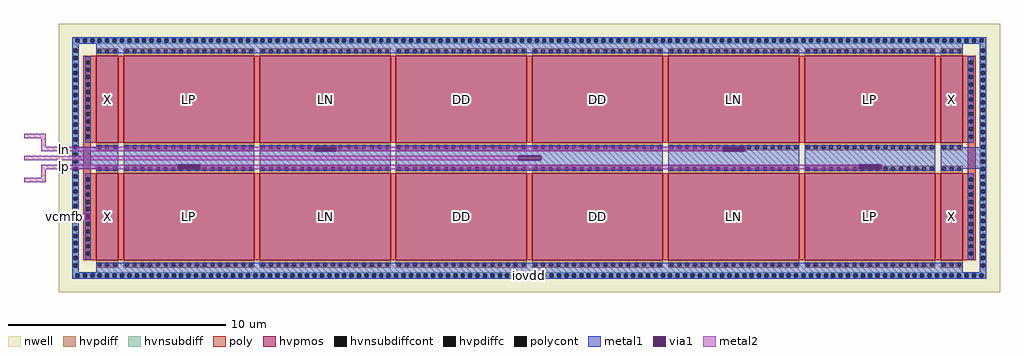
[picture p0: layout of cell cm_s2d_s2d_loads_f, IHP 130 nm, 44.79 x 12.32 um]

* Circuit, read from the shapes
.subckt cm_s2d_s2d_loads_f iovdd lp dd ln vcmfb
XM1 iovdd vcmfb iovdd iovdd sg13_hv_pmos w=1u l=4u m=4
XM2 lp vcmfb iovdd iovdd sg13_hv_pmos w=6u l=4u m=4
XM3 ln vcmfb iovdd iovdd sg13_hv_pmos w=6u l=4u m=4
XM4 dd vcmfb iovdd iovdd sg13_hv_pmos w=6u l=4u m=4
.ends

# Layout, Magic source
magic
tech ihp-sg13cmos5l
magscale 1 2
<< nwell >>
rect 0 0 8638 2464
<< hvnsubdiff >>
rect 124 2326 8514 2340
rect 124 2294 155 2326
rect 187 2294 223 2326
rect 255 2294 291 2326
rect 323 2294 359 2326
rect 391 2294 427 2326
rect 459 2294 495 2326
rect 527 2294 563 2326
rect 595 2294 631 2326
rect 663 2294 699 2326
rect 731 2294 767 2326
rect 799 2294 835 2326
rect 867 2294 903 2326
rect 935 2294 971 2326
rect 1003 2294 1039 2326
rect 1071 2294 1107 2326
rect 1139 2294 1175 2326
rect 1207 2294 1243 2326
rect 1275 2294 1311 2326
rect 1343 2294 1379 2326
rect 1411 2294 1447 2326
rect 1479 2294 1515 2326
rect 1547 2294 1583 2326
rect 1615 2294 1651 2326
rect 1683 2294 1719 2326
rect 1751 2294 1787 2326
rect 1819 2294 1855 2326
rect 1887 2294 1923 2326
rect 1955 2294 1991 2326
rect 2023 2294 2059 2326
rect 2091 2294 2127 2326
rect 2159 2294 2195 2326
rect 2227 2294 2263 2326
rect 2295 2294 2331 2326
rect 2363 2294 2399 2326
rect 2431 2294 2467 2326
rect 2499 2294 2535 2326
rect 2567 2294 2603 2326
rect 2635 2294 2671 2326
rect 2703 2294 2739 2326
rect 2771 2294 2807 2326
rect 2839 2294 2875 2326
rect 2907 2294 2943 2326
rect 2975 2294 3011 2326
rect 3043 2294 3079 2326
rect 3111 2294 3147 2326
rect 3179 2294 3215 2326
rect 3247 2294 3283 2326
rect 3315 2294 3351 2326
rect 3383 2294 3419 2326
rect 3451 2294 3487 2326
rect 3519 2294 3555 2326
rect 3587 2294 3623 2326
rect 3655 2294 3691 2326
rect 3723 2294 3759 2326
rect 3791 2294 3827 2326
rect 3859 2294 3895 2326
rect 3927 2294 3963 2326
rect 3995 2294 4031 2326
rect 4063 2294 4099 2326
rect 4131 2294 4167 2326
rect 4199 2294 4235 2326
rect 4267 2294 4303 2326
rect 4335 2294 4371 2326
rect 4403 2294 4439 2326
rect 4471 2294 4507 2326
rect 4539 2294 4575 2326
rect 4607 2294 4643 2326
rect 4675 2294 4711 2326
rect 4743 2294 4779 2326
rect 4811 2294 4847 2326
rect 4879 2294 4915 2326
rect 4947 2294 4983 2326
rect 5015 2294 5051 2326
rect 5083 2294 5119 2326
rect 5151 2294 5187 2326
rect 5219 2294 5255 2326
rect 5287 2294 5323 2326
rect 5355 2294 5391 2326
rect 5423 2294 5459 2326
rect 5491 2294 5527 2326
rect 5559 2294 5595 2326
rect 5627 2294 5663 2326
rect 5695 2294 5731 2326
rect 5763 2294 5799 2326
rect 5831 2294 5867 2326
rect 5899 2294 5935 2326
rect 5967 2294 6003 2326
rect 6035 2294 6071 2326
rect 6103 2294 6139 2326
rect 6171 2294 6207 2326
rect 6239 2294 6275 2326
rect 6307 2294 6343 2326
rect 6375 2294 6411 2326
rect 6443 2294 6479 2326
rect 6511 2294 6547 2326
rect 6579 2294 6615 2326
rect 6647 2294 6683 2326
rect 6715 2294 6751 2326
rect 6783 2294 6819 2326
rect 6851 2294 6887 2326
rect 6919 2294 6955 2326
rect 6987 2294 7023 2326
rect 7055 2294 7091 2326
rect 7123 2294 7159 2326
rect 7191 2294 7227 2326
rect 7259 2294 7295 2326
rect 7327 2294 7363 2326
rect 7395 2294 7431 2326
rect 7463 2294 7499 2326
rect 7531 2294 7567 2326
rect 7599 2294 7635 2326
rect 7667 2294 7703 2326
rect 7735 2294 7771 2326
rect 7803 2294 7839 2326
rect 7871 2294 7907 2326
rect 7939 2294 7975 2326
rect 8007 2294 8043 2326
rect 8075 2294 8111 2326
rect 8143 2294 8179 2326
rect 8211 2294 8247 2326
rect 8279 2294 8315 2326
rect 8347 2294 8383 2326
rect 8415 2294 8451 2326
rect 8483 2294 8514 2326
rect 124 2280 8514 2294
rect 124 2234 184 2280
rect 124 2202 138 2234
rect 170 2202 184 2234
rect 124 2166 184 2202
rect 8454 2234 8514 2280
rect 8454 2202 8468 2234
rect 8500 2202 8514 2234
rect 124 2134 138 2166
rect 170 2134 184 2166
rect 124 2098 184 2134
rect 124 2066 138 2098
rect 170 2066 184 2098
rect 124 2030 184 2066
rect 124 1998 138 2030
rect 170 1998 184 2030
rect 124 1962 184 1998
rect 124 1930 138 1962
rect 170 1930 184 1962
rect 124 1894 184 1930
rect 124 1862 138 1894
rect 170 1862 184 1894
rect 124 1826 184 1862
rect 124 1794 138 1826
rect 170 1794 184 1826
rect 124 1758 184 1794
rect 124 1726 138 1758
rect 170 1726 184 1758
rect 124 1690 184 1726
rect 124 1658 138 1690
rect 170 1658 184 1690
rect 124 1622 184 1658
rect 124 1590 138 1622
rect 170 1590 184 1622
rect 124 1554 184 1590
rect 124 1522 138 1554
rect 170 1522 184 1554
rect 124 1486 184 1522
rect 124 1454 138 1486
rect 170 1454 184 1486
rect 124 1418 184 1454
rect 124 1386 138 1418
rect 170 1386 184 1418
rect 124 1350 184 1386
rect 124 1318 138 1350
rect 170 1318 184 1350
rect 124 1282 184 1318
rect 124 1250 138 1282
rect 170 1250 184 1282
rect 124 1214 184 1250
rect 124 1182 138 1214
rect 170 1182 184 1214
rect 124 1146 184 1182
rect 124 1114 138 1146
rect 170 1114 184 1146
rect 124 1078 184 1114
rect 124 1046 138 1078
rect 170 1046 184 1078
rect 124 1010 184 1046
rect 124 978 138 1010
rect 170 978 184 1010
rect 124 942 184 978
rect 124 910 138 942
rect 170 910 184 942
rect 124 874 184 910
rect 124 842 138 874
rect 170 842 184 874
rect 124 806 184 842
rect 124 774 138 806
rect 170 774 184 806
rect 124 738 184 774
rect 124 706 138 738
rect 170 706 184 738
rect 124 670 184 706
rect 124 638 138 670
rect 170 638 184 670
rect 124 602 184 638
rect 124 570 138 602
rect 170 570 184 602
rect 124 534 184 570
rect 124 502 138 534
rect 170 502 184 534
rect 124 466 184 502
rect 124 434 138 466
rect 170 434 184 466
rect 124 398 184 434
rect 124 366 138 398
rect 170 366 184 398
rect 124 330 184 366
rect 124 298 138 330
rect 170 298 184 330
rect 124 262 184 298
rect 8454 2166 8514 2202
rect 8454 2134 8468 2166
rect 8500 2134 8514 2166
rect 8454 2098 8514 2134
rect 8454 2066 8468 2098
rect 8500 2066 8514 2098
rect 8454 2030 8514 2066
rect 8454 1998 8468 2030
rect 8500 1998 8514 2030
rect 8454 1962 8514 1998
rect 8454 1930 8468 1962
rect 8500 1930 8514 1962
rect 8454 1894 8514 1930
rect 8454 1862 8468 1894
rect 8500 1862 8514 1894
rect 8454 1826 8514 1862
rect 8454 1794 8468 1826
rect 8500 1794 8514 1826
rect 8454 1758 8514 1794
rect 8454 1726 8468 1758
rect 8500 1726 8514 1758
rect 8454 1690 8514 1726
rect 8454 1658 8468 1690
rect 8500 1658 8514 1690
rect 8454 1622 8514 1658
rect 8454 1590 8468 1622
rect 8500 1590 8514 1622
rect 8454 1554 8514 1590
rect 8454 1522 8468 1554
rect 8500 1522 8514 1554
rect 8454 1486 8514 1522
rect 8454 1454 8468 1486
rect 8500 1454 8514 1486
rect 8454 1418 8514 1454
rect 8454 1386 8468 1418
rect 8500 1386 8514 1418
rect 8454 1350 8514 1386
rect 8454 1318 8468 1350
rect 8500 1318 8514 1350
rect 8454 1282 8514 1318
rect 8454 1250 8468 1282
rect 8500 1250 8514 1282
rect 8454 1214 8514 1250
rect 8454 1182 8468 1214
rect 8500 1182 8514 1214
rect 8454 1146 8514 1182
rect 8454 1114 8468 1146
rect 8500 1114 8514 1146
rect 8454 1078 8514 1114
rect 8454 1046 8468 1078
rect 8500 1046 8514 1078
rect 8454 1010 8514 1046
rect 8454 978 8468 1010
rect 8500 978 8514 1010
rect 8454 942 8514 978
rect 8454 910 8468 942
rect 8500 910 8514 942
rect 8454 874 8514 910
rect 8454 842 8468 874
rect 8500 842 8514 874
rect 8454 806 8514 842
rect 8454 774 8468 806
rect 8500 774 8514 806
rect 8454 738 8514 774
rect 8454 706 8468 738
rect 8500 706 8514 738
rect 8454 670 8514 706
rect 8454 638 8468 670
rect 8500 638 8514 670
rect 8454 602 8514 638
rect 8454 570 8468 602
rect 8500 570 8514 602
rect 8454 534 8514 570
rect 8454 502 8468 534
rect 8500 502 8514 534
rect 8454 466 8514 502
rect 8454 434 8468 466
rect 8500 434 8514 466
rect 8454 398 8514 434
rect 8454 366 8468 398
rect 8500 366 8514 398
rect 8454 330 8514 366
rect 8454 298 8468 330
rect 8500 298 8514 330
rect 124 230 138 262
rect 170 230 184 262
rect 124 184 184 230
rect 8454 262 8514 298
rect 8454 230 8468 262
rect 8500 230 8514 262
rect 8454 184 8514 230
rect 124 170 8514 184
rect 124 138 155 170
rect 187 138 223 170
rect 255 138 291 170
rect 323 138 359 170
rect 391 138 427 170
rect 459 138 495 170
rect 527 138 563 170
rect 595 138 631 170
rect 663 138 699 170
rect 731 138 767 170
rect 799 138 835 170
rect 867 138 903 170
rect 935 138 971 170
rect 1003 138 1039 170
rect 1071 138 1107 170
rect 1139 138 1175 170
rect 1207 138 1243 170
rect 1275 138 1311 170
rect 1343 138 1379 170
rect 1411 138 1447 170
rect 1479 138 1515 170
rect 1547 138 1583 170
rect 1615 138 1651 170
rect 1683 138 1719 170
rect 1751 138 1787 170
rect 1819 138 1855 170
rect 1887 138 1923 170
rect 1955 138 1991 170
rect 2023 138 2059 170
rect 2091 138 2127 170
rect 2159 138 2195 170
rect 2227 138 2263 170
rect 2295 138 2331 170
rect 2363 138 2399 170
rect 2431 138 2467 170
rect 2499 138 2535 170
rect 2567 138 2603 170
rect 2635 138 2671 170
rect 2703 138 2739 170
rect 2771 138 2807 170
rect 2839 138 2875 170
rect 2907 138 2943 170
rect 2975 138 3011 170
rect 3043 138 3079 170
rect 3111 138 3147 170
rect 3179 138 3215 170
rect 3247 138 3283 170
rect 3315 138 3351 170
rect 3383 138 3419 170
rect 3451 138 3487 170
rect 3519 138 3555 170
rect 3587 138 3623 170
rect 3655 138 3691 170
rect 3723 138 3759 170
rect 3791 138 3827 170
rect 3859 138 3895 170
rect 3927 138 3963 170
rect 3995 138 4031 170
rect 4063 138 4099 170
rect 4131 138 4167 170
rect 4199 138 4235 170
rect 4267 138 4303 170
rect 4335 138 4371 170
rect 4403 138 4439 170
rect 4471 138 4507 170
rect 4539 138 4575 170
rect 4607 138 4643 170
rect 4675 138 4711 170
rect 4743 138 4779 170
rect 4811 138 4847 170
rect 4879 138 4915 170
rect 4947 138 4983 170
rect 5015 138 5051 170
rect 5083 138 5119 170
rect 5151 138 5187 170
rect 5219 138 5255 170
rect 5287 138 5323 170
rect 5355 138 5391 170
rect 5423 138 5459 170
rect 5491 138 5527 170
rect 5559 138 5595 170
rect 5627 138 5663 170
rect 5695 138 5731 170
rect 5763 138 5799 170
rect 5831 138 5867 170
rect 5899 138 5935 170
rect 5967 138 6003 170
rect 6035 138 6071 170
rect 6103 138 6139 170
rect 6171 138 6207 170
rect 6239 138 6275 170
rect 6307 138 6343 170
rect 6375 138 6411 170
rect 6443 138 6479 170
rect 6511 138 6547 170
rect 6579 138 6615 170
rect 6647 138 6683 170
rect 6715 138 6751 170
rect 6783 138 6819 170
rect 6851 138 6887 170
rect 6919 138 6955 170
rect 6987 138 7023 170
rect 7055 138 7091 170
rect 7123 138 7159 170
rect 7191 138 7227 170
rect 7259 138 7295 170
rect 7327 138 7363 170
rect 7395 138 7431 170
rect 7463 138 7499 170
rect 7531 138 7567 170
rect 7599 138 7635 170
rect 7667 138 7703 170
rect 7735 138 7771 170
rect 7803 138 7839 170
rect 7871 138 7907 170
rect 7939 138 7975 170
rect 8007 138 8043 170
rect 8075 138 8111 170
rect 8143 138 8179 170
rect 8211 138 8247 170
rect 8279 138 8315 170
rect 8347 138 8383 170
rect 8415 138 8451 170
rect 8483 138 8514 170
rect 124 124 8514 138
<< hvnsubdiffcont >>
rect 155 2294 187 2326
rect 223 2294 255 2326
rect 291 2294 323 2326
rect 359 2294 391 2326
rect 427 2294 459 2326
rect 495 2294 527 2326
rect 563 2294 595 2326
rect 631 2294 663 2326
rect 699 2294 731 2326
rect 767 2294 799 2326
rect 835 2294 867 2326
rect 903 2294 935 2326
rect 971 2294 1003 2326
rect 1039 2294 1071 2326
rect 1107 2294 1139 2326
rect 1175 2294 1207 2326
rect 1243 2294 1275 2326
rect 1311 2294 1343 2326
rect 1379 2294 1411 2326
rect 1447 2294 1479 2326
rect 1515 2294 1547 2326
rect 1583 2294 1615 2326
rect 1651 2294 1683 2326
rect 1719 2294 1751 2326
rect 1787 2294 1819 2326
rect 1855 2294 1887 2326
rect 1923 2294 1955 2326
rect 1991 2294 2023 2326
rect 2059 2294 2091 2326
rect 2127 2294 2159 2326
rect 2195 2294 2227 2326
rect 2263 2294 2295 2326
rect 2331 2294 2363 2326
rect 2399 2294 2431 2326
rect 2467 2294 2499 2326
rect 2535 2294 2567 2326
rect 2603 2294 2635 2326
rect 2671 2294 2703 2326
rect 2739 2294 2771 2326
rect 2807 2294 2839 2326
rect 2875 2294 2907 2326
rect 2943 2294 2975 2326
rect 3011 2294 3043 2326
rect 3079 2294 3111 2326
rect 3147 2294 3179 2326
rect 3215 2294 3247 2326
rect 3283 2294 3315 2326
rect 3351 2294 3383 2326
rect 3419 2294 3451 2326
rect 3487 2294 3519 2326
rect 3555 2294 3587 2326
rect 3623 2294 3655 2326
rect 3691 2294 3723 2326
rect 3759 2294 3791 2326
rect 3827 2294 3859 2326
rect 3895 2294 3927 2326
rect 3963 2294 3995 2326
rect 4031 2294 4063 2326
rect 4099 2294 4131 2326
rect 4167 2294 4199 2326
rect 4235 2294 4267 2326
rect 4303 2294 4335 2326
rect 4371 2294 4403 2326
rect 4439 2294 4471 2326
rect 4507 2294 4539 2326
rect 4575 2294 4607 2326
rect 4643 2294 4675 2326
rect 4711 2294 4743 2326
rect 4779 2294 4811 2326
rect 4847 2294 4879 2326
rect 4915 2294 4947 2326
rect 4983 2294 5015 2326
rect 5051 2294 5083 2326
rect 5119 2294 5151 2326
rect 5187 2294 5219 2326
rect 5255 2294 5287 2326
rect 5323 2294 5355 2326
rect 5391 2294 5423 2326
rect 5459 2294 5491 2326
rect 5527 2294 5559 2326
rect 5595 2294 5627 2326
rect 5663 2294 5695 2326
rect 5731 2294 5763 2326
rect 5799 2294 5831 2326
rect 5867 2294 5899 2326
rect 5935 2294 5967 2326
rect 6003 2294 6035 2326
rect 6071 2294 6103 2326
rect 6139 2294 6171 2326
rect 6207 2294 6239 2326
rect 6275 2294 6307 2326
rect 6343 2294 6375 2326
rect 6411 2294 6443 2326
rect 6479 2294 6511 2326
rect 6547 2294 6579 2326
rect 6615 2294 6647 2326
rect 6683 2294 6715 2326
rect 6751 2294 6783 2326
rect 6819 2294 6851 2326
rect 6887 2294 6919 2326
rect 6955 2294 6987 2326
rect 7023 2294 7055 2326
rect 7091 2294 7123 2326
rect 7159 2294 7191 2326
rect 7227 2294 7259 2326
rect 7295 2294 7327 2326
rect 7363 2294 7395 2326
rect 7431 2294 7463 2326
rect 7499 2294 7531 2326
rect 7567 2294 7599 2326
rect 7635 2294 7667 2326
rect 7703 2294 7735 2326
rect 7771 2294 7803 2326
rect 7839 2294 7871 2326
rect 7907 2294 7939 2326
rect 7975 2294 8007 2326
rect 8043 2294 8075 2326
rect 8111 2294 8143 2326
rect 8179 2294 8211 2326
rect 8247 2294 8279 2326
rect 8315 2294 8347 2326
rect 8383 2294 8415 2326
rect 8451 2294 8483 2326
rect 138 2202 170 2234
rect 8468 2202 8500 2234
rect 138 2134 170 2166
rect 138 2066 170 2098
rect 138 1998 170 2030
rect 138 1930 170 1962
rect 138 1862 170 1894
rect 138 1794 170 1826
rect 138 1726 170 1758
rect 138 1658 170 1690
rect 138 1590 170 1622
rect 138 1522 170 1554
rect 138 1454 170 1486
rect 138 1386 170 1418
rect 138 1318 170 1350
rect 138 1250 170 1282
rect 138 1182 170 1214
rect 138 1114 170 1146
rect 138 1046 170 1078
rect 138 978 170 1010
rect 138 910 170 942
rect 138 842 170 874
rect 138 774 170 806
rect 138 706 170 738
rect 138 638 170 670
rect 138 570 170 602
rect 138 502 170 534
rect 138 434 170 466
rect 138 366 170 398
rect 138 298 170 330
rect 8468 2134 8500 2166
rect 8468 2066 8500 2098
rect 8468 1998 8500 2030
rect 8468 1930 8500 1962
rect 8468 1862 8500 1894
rect 8468 1794 8500 1826
rect 8468 1726 8500 1758
rect 8468 1658 8500 1690
rect 8468 1590 8500 1622
rect 8468 1522 8500 1554
rect 8468 1454 8500 1486
rect 8468 1386 8500 1418
rect 8468 1318 8500 1350
rect 8468 1250 8500 1282
rect 8468 1182 8500 1214
rect 8468 1114 8500 1146
rect 8468 1046 8500 1078
rect 8468 978 8500 1010
rect 8468 910 8500 942
rect 8468 842 8500 874
rect 8468 774 8500 806
rect 8468 706 8500 738
rect 8468 638 8500 670
rect 8468 570 8500 602
rect 8468 502 8500 534
rect 8468 434 8500 466
rect 8468 366 8500 398
rect 8468 298 8500 330
rect 138 230 170 262
rect 8468 230 8500 262
rect 155 138 187 170
rect 223 138 255 170
rect 291 138 323 170
rect 359 138 391 170
rect 427 138 459 170
rect 495 138 527 170
rect 563 138 595 170
rect 631 138 663 170
rect 699 138 731 170
rect 767 138 799 170
rect 835 138 867 170
rect 903 138 935 170
rect 971 138 1003 170
rect 1039 138 1071 170
rect 1107 138 1139 170
rect 1175 138 1207 170
rect 1243 138 1275 170
rect 1311 138 1343 170
rect 1379 138 1411 170
rect 1447 138 1479 170
rect 1515 138 1547 170
rect 1583 138 1615 170
rect 1651 138 1683 170
rect 1719 138 1751 170
rect 1787 138 1819 170
rect 1855 138 1887 170
rect 1923 138 1955 170
rect 1991 138 2023 170
rect 2059 138 2091 170
rect 2127 138 2159 170
rect 2195 138 2227 170
rect 2263 138 2295 170
rect 2331 138 2363 170
rect 2399 138 2431 170
rect 2467 138 2499 170
rect 2535 138 2567 170
rect 2603 138 2635 170
rect 2671 138 2703 170
rect 2739 138 2771 170
rect 2807 138 2839 170
rect 2875 138 2907 170
rect 2943 138 2975 170
rect 3011 138 3043 170
rect 3079 138 3111 170
rect 3147 138 3179 170
rect 3215 138 3247 170
rect 3283 138 3315 170
rect 3351 138 3383 170
rect 3419 138 3451 170
rect 3487 138 3519 170
rect 3555 138 3587 170
rect 3623 138 3655 170
rect 3691 138 3723 170
rect 3759 138 3791 170
rect 3827 138 3859 170
rect 3895 138 3927 170
rect 3963 138 3995 170
rect 4031 138 4063 170
rect 4099 138 4131 170
rect 4167 138 4199 170
rect 4235 138 4267 170
rect 4303 138 4335 170
rect 4371 138 4403 170
rect 4439 138 4471 170
rect 4507 138 4539 170
rect 4575 138 4607 170
rect 4643 138 4675 170
rect 4711 138 4743 170
rect 4779 138 4811 170
rect 4847 138 4879 170
rect 4915 138 4947 170
rect 4983 138 5015 170
rect 5051 138 5083 170
rect 5119 138 5151 170
rect 5187 138 5219 170
rect 5255 138 5287 170
rect 5323 138 5355 170
rect 5391 138 5423 170
rect 5459 138 5491 170
rect 5527 138 5559 170
rect 5595 138 5627 170
rect 5663 138 5695 170
rect 5731 138 5763 170
rect 5799 138 5831 170
rect 5867 138 5899 170
rect 5935 138 5967 170
rect 6003 138 6035 170
rect 6071 138 6103 170
rect 6139 138 6171 170
rect 6207 138 6239 170
rect 6275 138 6307 170
rect 6343 138 6375 170
rect 6411 138 6443 170
rect 6479 138 6511 170
rect 6547 138 6579 170
rect 6615 138 6647 170
rect 6683 138 6715 170
rect 6751 138 6783 170
rect 6819 138 6851 170
rect 6887 138 6919 170
rect 6955 138 6987 170
rect 7023 138 7055 170
rect 7091 138 7123 170
rect 7159 138 7191 170
rect 7227 138 7259 170
rect 7295 138 7327 170
rect 7363 138 7395 170
rect 7431 138 7463 170
rect 7499 138 7531 170
rect 7567 138 7599 170
rect 7635 138 7667 170
rect 7703 138 7735 170
rect 7771 138 7803 170
rect 7839 138 7871 170
rect 7907 138 7939 170
rect 7975 138 8007 170
rect 8043 138 8075 170
rect 8111 138 8143 170
rect 8179 138 8211 170
rect 8247 138 8279 170
rect 8315 138 8347 170
rect 8383 138 8415 170
rect 8451 138 8483 170
<< poly >>
rect 224 2126 344 2170
rect 224 2094 252 2126
rect 284 2094 344 2126
rect 224 2058 344 2094
rect 224 2026 252 2058
rect 284 2026 344 2058
rect 224 1990 344 2026
rect 224 1958 252 1990
rect 284 1958 344 1990
rect 224 1922 344 1958
rect 224 1890 252 1922
rect 284 1890 344 1922
rect 224 1854 344 1890
rect 224 1822 252 1854
rect 284 1822 344 1854
rect 224 1786 344 1822
rect 224 1754 252 1786
rect 284 1754 344 1786
rect 224 1718 344 1754
rect 224 1686 252 1718
rect 284 1686 344 1718
rect 224 1650 344 1686
rect 224 1618 252 1650
rect 284 1618 344 1650
rect 224 1582 344 1618
rect 224 1550 252 1582
rect 284 1550 344 1582
rect 224 1514 344 1550
rect 224 1482 252 1514
rect 284 1482 344 1514
rect 224 1446 344 1482
rect 224 1414 252 1446
rect 284 1414 344 1446
rect 224 1370 344 1414
rect 8294 2126 8414 2170
rect 8294 2094 8354 2126
rect 8386 2094 8414 2126
rect 8294 2058 8414 2094
rect 8294 2026 8354 2058
rect 8386 2026 8414 2058
rect 8294 1990 8414 2026
rect 8294 1958 8354 1990
rect 8386 1958 8414 1990
rect 8294 1922 8414 1958
rect 8294 1890 8354 1922
rect 8386 1890 8414 1922
rect 8294 1854 8414 1890
rect 8294 1822 8354 1854
rect 8386 1822 8414 1854
rect 8294 1786 8414 1822
rect 8294 1754 8354 1786
rect 8386 1754 8414 1786
rect 8294 1718 8414 1754
rect 8294 1686 8354 1718
rect 8386 1686 8414 1718
rect 8294 1650 8414 1686
rect 8294 1618 8354 1650
rect 8386 1618 8414 1650
rect 8294 1582 8414 1618
rect 8294 1550 8354 1582
rect 8386 1550 8414 1582
rect 8294 1514 8414 1550
rect 8294 1482 8354 1514
rect 8386 1482 8414 1514
rect 8294 1446 8414 1482
rect 8294 1414 8354 1446
rect 8386 1414 8414 1446
rect 8294 1370 8414 1414
rect 224 1094 294 1370
rect 8344 1094 8414 1370
rect 224 1050 344 1094
rect 224 1018 252 1050
rect 284 1018 344 1050
rect 224 982 344 1018
rect 224 950 252 982
rect 284 950 344 982
rect 224 914 344 950
rect 224 882 252 914
rect 284 882 344 914
rect 224 846 344 882
rect 224 814 252 846
rect 284 814 344 846
rect 224 778 344 814
rect 224 746 252 778
rect 284 746 344 778
rect 224 710 344 746
rect 224 678 252 710
rect 284 678 344 710
rect 224 642 344 678
rect 224 610 252 642
rect 284 610 344 642
rect 224 574 344 610
rect 224 542 252 574
rect 284 542 344 574
rect 224 506 344 542
rect 224 474 252 506
rect 284 474 344 506
rect 224 438 344 474
rect 224 406 252 438
rect 284 406 344 438
rect 224 370 344 406
rect 224 338 252 370
rect 284 338 344 370
rect 224 294 344 338
rect 8294 1050 8414 1094
rect 8294 1018 8354 1050
rect 8386 1018 8414 1050
rect 8294 982 8414 1018
rect 8294 950 8354 982
rect 8386 950 8414 982
rect 8294 914 8414 950
rect 8294 882 8354 914
rect 8386 882 8414 914
rect 8294 846 8414 882
rect 8294 814 8354 846
rect 8386 814 8414 846
rect 8294 778 8414 814
rect 8294 746 8354 778
rect 8386 746 8414 778
rect 8294 710 8414 746
rect 8294 678 8354 710
rect 8386 678 8414 710
rect 8294 642 8414 678
rect 8294 610 8354 642
rect 8386 610 8414 642
rect 8294 574 8414 610
rect 8294 542 8354 574
rect 8386 542 8414 574
rect 8294 506 8414 542
rect 8294 474 8354 506
rect 8386 474 8414 506
rect 8294 438 8414 474
rect 8294 406 8354 438
rect 8386 406 8414 438
rect 8294 370 8414 406
rect 8294 338 8354 370
rect 8386 338 8414 370
rect 8294 294 8414 338
<< polycont >>
rect 252 2094 284 2126
rect 252 2026 284 2058
rect 252 1958 284 1990
rect 252 1890 284 1922
rect 252 1822 284 1854
rect 252 1754 284 1786
rect 252 1686 284 1718
rect 252 1618 284 1650
rect 252 1550 284 1582
rect 252 1482 284 1514
rect 252 1414 284 1446
rect 8354 2094 8386 2126
rect 8354 2026 8386 2058
rect 8354 1958 8386 1990
rect 8354 1890 8386 1922
rect 8354 1822 8386 1854
rect 8354 1754 8386 1786
rect 8354 1686 8386 1718
rect 8354 1618 8386 1650
rect 8354 1550 8386 1582
rect 8354 1482 8386 1514
rect 8354 1414 8386 1446
rect 252 1018 284 1050
rect 252 950 284 982
rect 252 882 284 914
rect 252 814 284 846
rect 252 746 284 778
rect 252 678 284 710
rect 252 610 284 642
rect 252 542 284 574
rect 252 474 284 506
rect 252 406 284 438
rect 252 338 284 370
rect 8354 1018 8386 1050
rect 8354 950 8386 982
rect 8354 882 8386 914
rect 8354 814 8386 846
rect 8354 746 8386 778
rect 8354 678 8386 710
rect 8354 610 8386 642
rect 8354 542 8386 574
rect 8354 474 8386 506
rect 8354 406 8386 438
rect 8354 338 8386 370
<< metal1 >>
rect 124 2326 8514 2340
rect 124 2294 155 2326
rect 187 2294 223 2326
rect 255 2294 291 2326
rect 323 2294 359 2326
rect 391 2294 427 2326
rect 459 2294 495 2326
rect 527 2294 563 2326
rect 595 2294 631 2326
rect 663 2294 699 2326
rect 731 2294 767 2326
rect 799 2294 835 2326
rect 867 2294 903 2326
rect 935 2294 971 2326
rect 1003 2294 1039 2326
rect 1071 2294 1107 2326
rect 1139 2294 1175 2326
rect 1207 2294 1243 2326
rect 1275 2294 1311 2326
rect 1343 2294 1379 2326
rect 1411 2294 1447 2326
rect 1479 2294 1515 2326
rect 1547 2294 1583 2326
rect 1615 2294 1651 2326
rect 1683 2294 1719 2326
rect 1751 2294 1787 2326
rect 1819 2294 1855 2326
rect 1887 2294 1923 2326
rect 1955 2294 1991 2326
rect 2023 2294 2059 2326
rect 2091 2294 2127 2326
rect 2159 2294 2195 2326
rect 2227 2294 2263 2326
rect 2295 2294 2331 2326
rect 2363 2294 2399 2326
rect 2431 2294 2467 2326
rect 2499 2294 2535 2326
rect 2567 2294 2603 2326
rect 2635 2294 2671 2326
rect 2703 2294 2739 2326
rect 2771 2294 2807 2326
rect 2839 2294 2875 2326
rect 2907 2294 2943 2326
rect 2975 2294 3011 2326
rect 3043 2294 3079 2326
rect 3111 2294 3147 2326
rect 3179 2294 3215 2326
rect 3247 2294 3283 2326
rect 3315 2294 3351 2326
rect 3383 2294 3419 2326
rect 3451 2294 3487 2326
rect 3519 2294 3555 2326
rect 3587 2294 3623 2326
rect 3655 2294 3691 2326
rect 3723 2294 3759 2326
rect 3791 2294 3827 2326
rect 3859 2294 3895 2326
rect 3927 2294 3963 2326
rect 3995 2294 4031 2326
rect 4063 2294 4099 2326
rect 4131 2294 4167 2326
rect 4199 2294 4235 2326
rect 4267 2294 4303 2326
rect 4335 2294 4371 2326
rect 4403 2294 4439 2326
rect 4471 2294 4507 2326
rect 4539 2294 4575 2326
rect 4607 2294 4643 2326
rect 4675 2294 4711 2326
rect 4743 2294 4779 2326
rect 4811 2294 4847 2326
rect 4879 2294 4915 2326
rect 4947 2294 4983 2326
rect 5015 2294 5051 2326
rect 5083 2294 5119 2326
rect 5151 2294 5187 2326
rect 5219 2294 5255 2326
rect 5287 2294 5323 2326
rect 5355 2294 5391 2326
rect 5423 2294 5459 2326
rect 5491 2294 5527 2326
rect 5559 2294 5595 2326
rect 5627 2294 5663 2326
rect 5695 2294 5731 2326
rect 5763 2294 5799 2326
rect 5831 2294 5867 2326
rect 5899 2294 5935 2326
rect 5967 2294 6003 2326
rect 6035 2294 6071 2326
rect 6103 2294 6139 2326
rect 6171 2294 6207 2326
rect 6239 2294 6275 2326
rect 6307 2294 6343 2326
rect 6375 2294 6411 2326
rect 6443 2294 6479 2326
rect 6511 2294 6547 2326
rect 6579 2294 6615 2326
rect 6647 2294 6683 2326
rect 6715 2294 6751 2326
rect 6783 2294 6819 2326
rect 6851 2294 6887 2326
rect 6919 2294 6955 2326
rect 6987 2294 7023 2326
rect 7055 2294 7091 2326
rect 7123 2294 7159 2326
rect 7191 2294 7227 2326
rect 7259 2294 7295 2326
rect 7327 2294 7363 2326
rect 7395 2294 7431 2326
rect 7463 2294 7499 2326
rect 7531 2294 7567 2326
rect 7599 2294 7635 2326
rect 7667 2294 7703 2326
rect 7735 2294 7771 2326
rect 7803 2294 7839 2326
rect 7871 2294 7907 2326
rect 7939 2294 7975 2326
rect 8007 2294 8043 2326
rect 8075 2294 8111 2326
rect 8143 2294 8179 2326
rect 8211 2294 8247 2326
rect 8279 2294 8315 2326
rect 8347 2294 8383 2326
rect 8415 2294 8451 2326
rect 8483 2294 8514 2326
rect 124 2280 8514 2294
rect 124 2234 184 2280
rect 124 2202 138 2234
rect 170 2202 184 2234
rect 124 2166 184 2202
rect 344 2192 8294 2280
rect 8454 2234 8514 2280
rect 8454 2202 8468 2234
rect 8500 2202 8514 2234
rect 8454 2166 8514 2202
rect 124 2134 138 2166
rect 170 2134 184 2166
rect 124 2098 184 2134
rect 124 2066 138 2098
rect 170 2066 184 2098
rect 124 2030 184 2066
rect 124 1998 138 2030
rect 170 1998 184 2030
rect 124 1962 184 1998
rect 124 1930 138 1962
rect 170 1930 184 1962
rect 124 1894 184 1930
rect 124 1862 138 1894
rect 170 1862 184 1894
rect 124 1826 184 1862
rect 124 1794 138 1826
rect 170 1794 184 1826
rect 124 1758 184 1794
rect 124 1726 138 1758
rect 170 1726 184 1758
rect 124 1690 184 1726
rect 124 1658 138 1690
rect 170 1658 184 1690
rect 124 1622 184 1658
rect 124 1590 138 1622
rect 170 1590 184 1622
rect 124 1554 184 1590
rect 124 1522 138 1554
rect 170 1522 184 1554
rect 124 1486 184 1522
rect 124 1454 138 1486
rect 170 1454 184 1486
rect 124 1418 184 1454
rect 124 1386 138 1418
rect 170 1386 184 1418
rect 124 1350 184 1386
rect 242 2126 294 2166
rect 242 2094 252 2126
rect 284 2094 294 2126
rect 242 2058 294 2094
rect 242 2026 252 2058
rect 284 2026 294 2058
rect 242 1990 294 2026
rect 242 1958 252 1990
rect 284 1958 294 1990
rect 242 1922 294 1958
rect 242 1890 252 1922
rect 284 1890 294 1922
rect 242 1854 294 1890
rect 242 1822 252 1854
rect 284 1822 294 1854
rect 242 1786 294 1822
rect 242 1754 252 1786
rect 284 1754 294 1786
rect 242 1718 294 1754
rect 242 1686 252 1718
rect 284 1686 294 1718
rect 242 1650 294 1686
rect 242 1618 252 1650
rect 284 1618 294 1650
rect 242 1582 294 1618
rect 242 1550 252 1582
rect 284 1550 294 1582
rect 242 1514 294 1550
rect 242 1482 252 1514
rect 284 1482 294 1514
rect 242 1446 294 1482
rect 242 1414 252 1446
rect 284 1414 294 1446
rect 242 1374 294 1414
rect 8344 2126 8396 2166
rect 8344 2094 8354 2126
rect 8386 2094 8396 2126
rect 8344 2058 8396 2094
rect 8344 2026 8354 2058
rect 8386 2026 8396 2058
rect 8344 1990 8396 2026
rect 8344 1958 8354 1990
rect 8386 1958 8396 1990
rect 8344 1922 8396 1958
rect 8344 1890 8354 1922
rect 8386 1890 8396 1922
rect 8344 1854 8396 1890
rect 8344 1822 8354 1854
rect 8386 1822 8396 1854
rect 8344 1786 8396 1822
rect 8344 1754 8354 1786
rect 8386 1754 8396 1786
rect 8344 1718 8396 1754
rect 8344 1686 8354 1718
rect 8386 1686 8396 1718
rect 8344 1650 8396 1686
rect 8344 1618 8354 1650
rect 8386 1618 8396 1650
rect 8344 1582 8396 1618
rect 8344 1550 8354 1582
rect 8386 1550 8396 1582
rect 8344 1514 8396 1550
rect 8344 1482 8354 1514
rect 8386 1482 8396 1514
rect 8344 1446 8396 1482
rect 8344 1414 8354 1446
rect 8386 1414 8396 1446
rect 8344 1374 8396 1414
rect 8454 2134 8468 2166
rect 8500 2134 8514 2166
rect 8454 2098 8514 2134
rect 8454 2066 8468 2098
rect 8500 2066 8514 2098
rect 8454 2030 8514 2066
rect 8454 1998 8468 2030
rect 8500 1998 8514 2030
rect 8454 1962 8514 1998
rect 8454 1930 8468 1962
rect 8500 1930 8514 1962
rect 8454 1894 8514 1930
rect 8454 1862 8468 1894
rect 8500 1862 8514 1894
rect 8454 1826 8514 1862
rect 8454 1794 8468 1826
rect 8500 1794 8514 1826
rect 8454 1758 8514 1794
rect 8454 1726 8468 1758
rect 8500 1726 8514 1758
rect 8454 1690 8514 1726
rect 8454 1658 8468 1690
rect 8500 1658 8514 1690
rect 8454 1622 8514 1658
rect 8454 1590 8468 1622
rect 8500 1590 8514 1622
rect 8454 1554 8514 1590
rect 8454 1522 8468 1554
rect 8500 1522 8514 1554
rect 8454 1486 8514 1522
rect 8454 1454 8468 1486
rect 8500 1454 8514 1486
rect 8454 1418 8514 1454
rect 8454 1386 8468 1418
rect 8500 1386 8514 1418
rect 124 1318 138 1350
rect 170 1330 184 1350
rect 8454 1350 8514 1386
rect 344 1330 544 1348
rect 170 1318 544 1330
rect 124 1282 544 1318
rect 124 1250 138 1282
rect 170 1250 544 1282
rect 124 1214 544 1250
rect 124 1182 138 1214
rect 170 1182 544 1214
rect 124 1146 544 1182
rect 124 1114 138 1146
rect 170 1134 544 1146
rect 170 1114 184 1134
rect 344 1116 544 1134
rect 594 1170 1794 1348
rect 594 1130 1092 1170
rect 1296 1130 1794 1170
rect 594 1116 1794 1130
rect 1844 1334 3044 1348
rect 1844 1294 2342 1334
rect 2546 1294 3044 1334
rect 1844 1116 3044 1294
rect 3094 1252 5544 1348
rect 3094 1212 4217 1252
rect 4421 1212 5544 1252
rect 3094 1116 5544 1212
rect 5594 1334 6794 1348
rect 5594 1294 6092 1334
rect 6296 1294 6794 1334
rect 5594 1116 6794 1294
rect 6844 1170 8044 1348
rect 6844 1130 7342 1170
rect 7546 1130 8044 1170
rect 6844 1116 8044 1130
rect 8094 1330 8294 1348
rect 8454 1330 8468 1350
rect 8094 1318 8468 1330
rect 8500 1318 8514 1350
rect 8094 1282 8514 1318
rect 8094 1250 8468 1282
rect 8500 1250 8514 1282
rect 8094 1214 8514 1250
rect 8094 1182 8468 1214
rect 8500 1182 8514 1214
rect 8094 1146 8514 1182
rect 8094 1134 8468 1146
rect 8094 1116 8294 1134
rect 124 1078 184 1114
rect 8454 1114 8468 1134
rect 8500 1114 8514 1146
rect 124 1046 138 1078
rect 170 1046 184 1078
rect 124 1010 184 1046
rect 124 978 138 1010
rect 170 978 184 1010
rect 124 942 184 978
rect 124 910 138 942
rect 170 910 184 942
rect 124 874 184 910
rect 124 842 138 874
rect 170 842 184 874
rect 124 806 184 842
rect 124 774 138 806
rect 170 774 184 806
rect 124 738 184 774
rect 124 706 138 738
rect 170 706 184 738
rect 124 670 184 706
rect 124 638 138 670
rect 170 638 184 670
rect 124 602 184 638
rect 124 570 138 602
rect 170 570 184 602
rect 124 534 184 570
rect 124 502 138 534
rect 170 502 184 534
rect 124 466 184 502
rect 124 434 138 466
rect 170 434 184 466
rect 124 398 184 434
rect 124 366 138 398
rect 170 366 184 398
rect 124 330 184 366
rect 124 298 138 330
rect 170 298 184 330
rect 242 1050 294 1090
rect 242 1018 252 1050
rect 284 1018 294 1050
rect 242 982 294 1018
rect 242 950 252 982
rect 284 950 294 982
rect 242 914 294 950
rect 242 882 252 914
rect 284 882 294 914
rect 242 846 294 882
rect 242 814 252 846
rect 284 814 294 846
rect 242 778 294 814
rect 242 746 252 778
rect 284 746 294 778
rect 242 714 294 746
rect 242 674 248 714
rect 288 674 294 714
rect 242 642 294 674
rect 242 610 252 642
rect 284 610 294 642
rect 242 574 294 610
rect 242 542 252 574
rect 284 542 294 574
rect 242 506 294 542
rect 242 474 252 506
rect 284 474 294 506
rect 242 438 294 474
rect 242 406 252 438
rect 284 406 294 438
rect 242 370 294 406
rect 242 338 252 370
rect 284 338 294 370
rect 242 298 294 338
rect 8344 1050 8396 1090
rect 8344 1018 8354 1050
rect 8386 1018 8396 1050
rect 8344 982 8396 1018
rect 8344 950 8354 982
rect 8386 950 8396 982
rect 8344 914 8396 950
rect 8344 882 8354 914
rect 8386 882 8396 914
rect 8344 846 8396 882
rect 8344 814 8354 846
rect 8386 814 8396 846
rect 8344 778 8396 814
rect 8344 746 8354 778
rect 8386 746 8396 778
rect 8344 710 8396 746
rect 8344 678 8354 710
rect 8386 678 8396 710
rect 8344 642 8396 678
rect 8344 610 8354 642
rect 8386 610 8396 642
rect 8344 574 8396 610
rect 8344 542 8354 574
rect 8386 542 8396 574
rect 8344 506 8396 542
rect 8344 474 8354 506
rect 8386 474 8396 506
rect 8344 438 8396 474
rect 8344 406 8354 438
rect 8386 406 8396 438
rect 8344 370 8396 406
rect 8344 338 8354 370
rect 8386 338 8396 370
rect 8344 298 8396 338
rect 8454 1078 8514 1114
rect 8454 1046 8468 1078
rect 8500 1046 8514 1078
rect 8454 1010 8514 1046
rect 8454 978 8468 1010
rect 8500 978 8514 1010
rect 8454 942 8514 978
rect 8454 910 8468 942
rect 8500 910 8514 942
rect 8454 874 8514 910
rect 8454 842 8468 874
rect 8500 842 8514 874
rect 8454 806 8514 842
rect 8454 774 8468 806
rect 8500 774 8514 806
rect 8454 738 8514 774
rect 8454 706 8468 738
rect 8500 706 8514 738
rect 8454 670 8514 706
rect 8454 638 8468 670
rect 8500 638 8514 670
rect 8454 602 8514 638
rect 8454 570 8468 602
rect 8500 570 8514 602
rect 8454 534 8514 570
rect 8454 502 8468 534
rect 8500 502 8514 534
rect 8454 466 8514 502
rect 8454 434 8468 466
rect 8500 434 8514 466
rect 8454 398 8514 434
rect 8454 366 8468 398
rect 8500 366 8514 398
rect 8454 330 8514 366
rect 8454 298 8468 330
rect 8500 298 8514 330
rect 124 262 184 298
rect 124 230 138 262
rect 170 230 184 262
rect 124 184 184 230
rect 344 184 8294 272
rect 8454 262 8514 298
rect 8454 230 8468 262
rect 8500 230 8514 262
rect 8454 184 8514 230
rect 124 170 8514 184
rect 124 138 155 170
rect 187 138 223 170
rect 255 138 291 170
rect 323 138 359 170
rect 391 138 427 170
rect 459 138 495 170
rect 527 138 563 170
rect 595 138 631 170
rect 663 138 699 170
rect 731 138 767 170
rect 799 138 835 170
rect 867 138 903 170
rect 935 138 971 170
rect 1003 138 1039 170
rect 1071 138 1107 170
rect 1139 138 1175 170
rect 1207 138 1243 170
rect 1275 138 1311 170
rect 1343 138 1379 170
rect 1411 138 1447 170
rect 1479 138 1515 170
rect 1547 138 1583 170
rect 1615 138 1651 170
rect 1683 138 1719 170
rect 1751 138 1787 170
rect 1819 138 1855 170
rect 1887 138 1923 170
rect 1955 138 1991 170
rect 2023 138 2059 170
rect 2091 138 2127 170
rect 2159 138 2195 170
rect 2227 138 2263 170
rect 2295 138 2331 170
rect 2363 138 2399 170
rect 2431 138 2467 170
rect 2499 138 2535 170
rect 2567 138 2603 170
rect 2635 138 2671 170
rect 2703 138 2739 170
rect 2771 138 2807 170
rect 2839 138 2875 170
rect 2907 138 2943 170
rect 2975 138 3011 170
rect 3043 138 3079 170
rect 3111 138 3147 170
rect 3179 138 3215 170
rect 3247 138 3283 170
rect 3315 138 3351 170
rect 3383 138 3419 170
rect 3451 138 3487 170
rect 3519 138 3555 170
rect 3587 138 3623 170
rect 3655 138 3691 170
rect 3723 138 3759 170
rect 3791 138 3827 170
rect 3859 138 3895 170
rect 3927 138 3963 170
rect 3995 138 4031 170
rect 4063 138 4099 170
rect 4131 138 4167 170
rect 4199 138 4235 170
rect 4267 138 4303 170
rect 4335 138 4371 170
rect 4403 138 4439 170
rect 4471 138 4507 170
rect 4539 138 4575 170
rect 4607 138 4643 170
rect 4675 138 4711 170
rect 4743 138 4779 170
rect 4811 138 4847 170
rect 4879 138 4915 170
rect 4947 138 4983 170
rect 5015 138 5051 170
rect 5083 138 5119 170
rect 5151 138 5187 170
rect 5219 138 5255 170
rect 5287 138 5323 170
rect 5355 138 5391 170
rect 5423 138 5459 170
rect 5491 138 5527 170
rect 5559 138 5595 170
rect 5627 138 5663 170
rect 5695 138 5731 170
rect 5763 138 5799 170
rect 5831 138 5867 170
rect 5899 138 5935 170
rect 5967 138 6003 170
rect 6035 138 6071 170
rect 6103 138 6139 170
rect 6171 138 6207 170
rect 6239 138 6275 170
rect 6307 138 6343 170
rect 6375 138 6411 170
rect 6443 138 6479 170
rect 6511 138 6547 170
rect 6579 138 6615 170
rect 6647 138 6683 170
rect 6715 138 6751 170
rect 6783 138 6819 170
rect 6851 138 6887 170
rect 6919 138 6955 170
rect 6987 138 7023 170
rect 7055 138 7091 170
rect 7123 138 7159 170
rect 7191 138 7227 170
rect 7259 138 7295 170
rect 7327 138 7363 170
rect 7395 138 7431 170
rect 7463 138 7499 170
rect 7531 138 7567 170
rect 7599 138 7635 170
rect 7667 138 7703 170
rect 7735 138 7771 170
rect 7803 138 7839 170
rect 7871 138 7907 170
rect 7939 138 7975 170
rect 8007 138 8043 170
rect 8075 138 8111 170
rect 8143 138 8179 170
rect 8211 138 8247 170
rect 8279 138 8315 170
rect 8347 138 8383 170
rect 8415 138 8451 170
rect 8483 138 8514 170
rect 124 124 8514 138
<< via1 >>
rect 1092 1130 1296 1170
rect 2342 1294 2546 1334
rect 4217 1212 4421 1252
rect 6092 1294 6296 1334
rect 7342 1130 7546 1170
rect 248 710 288 714
rect 248 678 252 710
rect 252 678 284 710
rect 284 678 288 710
rect 248 674 288 678
<< metal2 >>
rect -320 1414 -120 1454
rect -160 1334 -120 1414
rect -160 1294 2342 1334
rect 2546 1294 6092 1334
rect 6296 1294 6305 1334
rect -320 1212 4217 1252
rect 4421 1212 4430 1252
rect -160 1130 1092 1170
rect 1296 1130 7342 1170
rect 7546 1130 7555 1170
rect -160 1050 -120 1130
rect -320 1010 -120 1050
rect 0 714 294 724
rect 0 674 248 714
rect 288 674 294 714
rect 0 664 294 674
use cm_s2d_pmosHV_w1_l4_1  cm_s2d_pmosHV_w1_l4_1_0
transform 0 -1 544 -1 0 2238
box -124 -124 1060 324
use cm_s2d_pmosHV_w1_l4_1  cm_s2d_pmosHV_w1_l4_1_1
transform 0 1 8094 1 0 226
box -124 -124 1060 324
use cm_s2d_pmosHV_w1_l4_1  cm_s2d_pmosHV_w1_l4_1_2
transform 0 1 8094 -1 0 2238
box -124 -124 1060 324
use cm_s2d_pmosHV_w1_l4_1  cm_s2d_pmosHV_w1_l4_1_3
transform 0 -1 544 1 0 226
box -124 -124 1060 324
use cm_s2d_pmosHV_w6_l4  cm_s2d_pmosHV_w6_l4_0
transform 0 -1 4294 -1 0 2238
box -124 -124 1060 1324
use cm_s2d_pmosHV_w6_l4  cm_s2d_pmosHV_w6_l4_1
transform 0 -1 3044 -1 0 2238
box -124 -124 1060 1324
use cm_s2d_pmosHV_w6_l4  cm_s2d_pmosHV_w6_l4_2
transform 0 -1 1794 -1 0 2238
box -124 -124 1060 1324
use cm_s2d_pmosHV_w6_l4  cm_s2d_pmosHV_w6_l4_3
transform 0 1 6844 1 0 226
box -124 -124 1060 1324
use cm_s2d_pmosHV_w6_l4  cm_s2d_pmosHV_w6_l4_4
transform 0 1 5594 1 0 226
box -124 -124 1060 1324
use cm_s2d_pmosHV_w6_l4  cm_s2d_pmosHV_w6_l4_5
transform 0 1 4344 1 0 226
box -124 -124 1060 1324
use cm_s2d_pmosHV_w6_l4  cm_s2d_pmosHV_w6_l4_6
transform 0 1 6844 -1 0 2238
box -124 -124 1060 1324
use cm_s2d_pmosHV_w6_l4  cm_s2d_pmosHV_w6_l4_7
transform 0 1 5594 -1 0 2238
box -124 -124 1060 1324
use cm_s2d_pmosHV_w6_l4  cm_s2d_pmosHV_w6_l4_8
transform 0 1 4344 -1 0 2238
box -124 -124 1060 1324
use cm_s2d_pmosHV_w6_l4  cm_s2d_pmosHV_w6_l4_9
transform 0 -1 4294 1 0 226
box -124 -124 1060 1324
use cm_s2d_pmosHV_w6_l4  cm_s2d_pmosHV_w6_l4_10
transform 0 -1 3044 1 0 226
box -124 -124 1060 1324
use cm_s2d_pmosHV_w6_l4  cm_s2d_pmosHV_w6_l4_11
transform 0 -1 1794 1 0 226
box -124 -124 1060 1324
<< labels >>
rlabel comment s 444 694 444 694 4 X
rlabel comment s 1194 694 1194 694 4 LP
rlabel comment s 2444 694 2444 694 4 LN
rlabel comment s 3694 694 3694 694 4 DD
rlabel comment s 4944 694 4944 694 4 DD
rlabel comment s 6194 694 6194 694 4 LN
rlabel comment s 7444 694 7444 694 4 LP
rlabel comment s 8194 694 8194 694 4 X
rlabel comment s 444 1770 444 1770 4 X
rlabel comment s 1194 1770 1194 1770 4 LP
rlabel comment s 2444 1770 2444 1770 4 LN
rlabel comment s 3694 1770 3694 1770 4 DD
rlabel comment s 4944 1770 4944 1770 4 DD
rlabel comment s 6194 1770 6194 1770 4 LN
rlabel comment s 7444 1770 7444 1770 4 LP
rlabel comment s 8194 1770 8194 1770 4 X
rlabel metal1 s 4119 124 4519 184 4 iovdd
port 1 nsew
rlabel metal2 s 0 1130 100 1170 4 lp
port 3 nsew
rlabel metal2 s 0 1212 100 1252 4 dd
port 4 nsew
rlabel metal2 s 0 1294 100 1334 4 ln
port 5 nsew
rlabel metal2 s 0 664 100 724 4 vcmfb
port 6 nsew
<< properties >>
string GDS_END 80504
string GDS_FILE custom_io/gds/sg13cmos5l_IOPadSingle2Diff.uniq.gds
string GDS_START 52262
<< end >>

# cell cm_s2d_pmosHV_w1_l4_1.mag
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
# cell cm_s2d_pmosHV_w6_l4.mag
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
